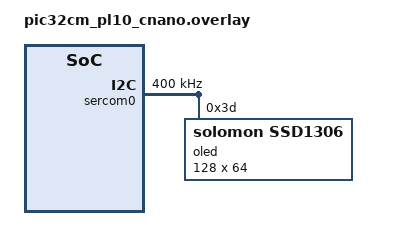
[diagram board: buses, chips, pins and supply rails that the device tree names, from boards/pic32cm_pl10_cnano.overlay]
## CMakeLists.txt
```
# SPDX-License-Identifier: Apache-2.0
cmake_minimum_required(VERSION 3.20.0)

find_package(Zephyr REQUIRED HINTS $ENV{ZEPHYR_BASE})
project(joystick_oled)

target_sources(app PRIVATE src/main.c)
```

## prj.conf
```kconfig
# I2C bus (SERCOM0 on PA00/PA01 -> Explorer I2C bus)
CONFIG_I2C=y

# OLED (SSD1306 driver is pulled in automatically from the devicetree node)
CONFIG_DISPLAY=y

# Console output over the Nano Debugger virtual COM port
CONFIG_PRINTK=y

# PL10 only has 8 KB SRAM - keep things lean
CONFIG_MAIN_STACK_SIZE=1024
CONFIG_LOG=n
```

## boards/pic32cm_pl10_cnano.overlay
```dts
/*
 * Curiosity Nano Explorer add-ons for the PIC32CM PL10 Curiosity Nano.
 *
 * Explorer I2C bus  -> CNANO socket I2C SDA/SCL -> PL10 PA00 (SERCOM0 PAD0) / PA01 (SERCOM0 PAD1)
 *   - OLED (SSD1306, 128x64)          @ 0x3D
 *   - I/O Expander 2 (MCP23008)       @ 0x24  (joystick + SW1..SW3, read directly in main.c)
 */

#include <zephyr/dt-bindings/i2c/i2c.h>

/ {
	chosen {
		zephyr,display = &oled;
	};
};

&pinctrl {
	sercom0_i2c_default: sercom0_i2c_default {
		group1 {
			pinmux = <PA0C_SERCOM0_PAD0>,	/* SDA */
				 <PA1C_SERCOM0_PAD1>;	/* SCL */
			/* Required: without the input buffer the SERCOM can't sample the bus */
			input-enable;
		};
	};
};

/* Feed SERCOM0 core clock from GCLK0 (24 MHz), same as the console SERCOM1 */
&gclkperiph {
	sercom0 {
		subsystem = <CLOCK_MCHP_GCLKPERIPH_ID_SERCOM0_CORE>;
		gclkperiph-src = "gclk0";
		gclkperiph-en = <1>;
	};
};

&porta {
	status = "okay";
};

&sercom0 {
	compatible = "microchip,sercom-g1-i2c";
	#address-cells = <1>;
	#size-cells = <0>;
	clock-frequency = <I2C_BITRATE_FAST>;
	pinctrl-0 = <&sercom0_i2c_default>;
	pinctrl-names = "default";
	status = "okay";

	oled: ssd1306@3d {
		compatible = "solomon,ssd1306";
		reg = <0x3d>;
		width = <128>;
		height = <64>;
		segment-offset = <0>;
		page-offset = <0>;
		display-offset = <0>;
		multiplex-ratio = <63>;
		segment-remap;
		com-invdir;
		prechargep = <0x22>;
	};
};
```

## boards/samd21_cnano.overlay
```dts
/*
 * Curiosity Nano Explorer add-ons for the SAM D21 Curiosity Nano (samd21_cnano).
 *
 * Explorer I2C bus  -> CNANO socket I2C SDA/SCL -> SAMD21 PA12 (SERCOM4 PAD0) / PA13 (SERCOM4 PAD1)
 *   - OLED (SSD1306, 128x64)          @ 0x3D
 *   - I/O Expander 2 (MCP23008)       @ 0x24  (joystick + SW1..SW3, read directly in main.c)
 *
 * The samd21_cnano board already enables SERCOM4 as I2C; this overlay restates
 * it explicitly (pins with input-enable, clock, compatible) and adds the OLED.
 */

#include <zephyr/dt-bindings/i2c/i2c.h>

/ {
	chosen {
		zephyr,display = &oled;
	};
};

&pinctrl {
	sercom4_i2c_default: sercom4_i2c_default {
		group1 {
			pinmux = <PA12D_SERCOM4_PAD0>,	/* SDA */
				 <PA13D_SERCOM4_PAD1>;	/* SCL */
			input-enable;
		};
	};
};

&porta {
	status = "okay";
};

&sercom4 {
	compatible = "atmel,sam0-i2c";
	#address-cells = <1>;
	#size-cells = <0>;
	clock-frequency = <I2C_BITRATE_FAST>;
	/* SERCOM4 core clock (GCLK ID 0x18) from GCLK0 (48 MHz), APB-C mask bit 6 */
	clocks = <&gclk 0x18>, <&pm 0x20 6>;
	clock-names = "GCLK", "PM";
	atmel,assigned-clocks = <&gclk 0>;
	atmel,assigned-clock-names = "GCLK";
	pinctrl-0 = <&sercom4_i2c_default>;
	pinctrl-names = "default";
	status = "okay";

	oled: ssd1306@3d {
		compatible = "solomon,ssd1306";
		reg = <0x3d>;
		width = <128>;
		height = <64>;
		segment-offset = <0>;
		page-offset = <0>;
		display-offset = <0>;
		multiplex-ratio = <63>;
		segment-remap;
		com-invdir;
		prechargep = <0x22>;
	};
};
```

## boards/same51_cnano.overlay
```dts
/*
 * Curiosity Nano Explorer add-ons for the SAM E51 Curiosity Nano (same51_cnano).
 *
 * Explorer I2C bus  -> CNANO socket I2C SDA/SCL -> SAME51 PA12 (SERCOM2 PAD0) / PA13 (SERCOM2 PAD1)
 *   - OLED (SSD1306, 128x64)          @ 0x3D
 *   - I/O Expander 2 (MCP23008)       @ 0x24  (joystick + SW1..SW3, read directly in main.c)
 *
 * The same51_cnano board already enables SERCOM2 as a microchip,sercom-g1-i2c
 * controller at 400 kHz with its core clock on GCLK1 (60 MHz). This overlay
 * only adds input-enable on the I2C pins and the OLED node.
 */

/ {
	chosen {
		zephyr,display = &oled;
	};
};

&pinctrl {
	sercom2_i2c_default: sercom2_i2c_default {
		group1 {
			pinmux = <PA12C_SERCOM2_PAD0>,	/* SDA */
				 <PA13C_SERCOM2_PAD1>;	/* SCL */
			/* Keep the SERCOM input buffer on so it can sample the bus */
			input-enable;
		};
	};
};

&sercom2 {
	status = "okay";

	oled: ssd1306@3d {
		compatible = "solomon,ssd1306";
		reg = <0x3d>;
		width = <128>;
		height = <64>;
		segment-offset = <0>;
		page-offset = <0>;
		display-offset = <0>;
		multiplex-ratio = <63>;
		segment-remap;
		com-invdir;
		prechargep = <0x22>;
	};
};
```

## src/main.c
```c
/*
 * Joystick + OLED demo for PIC32CM PL10, SAMD21, and SAME51 Curiosity Nanos on the Curiosity Nano Explorer.
 *
 *  - A dot is drawn on the 128x64 SSD1306 OLED.
 *  - Joystick UP/DOWN/LEFT/RIGHT moves the dot 4 px (wraps at the edges).
 *    Holding a direction auto-repeats.
 *  - Joystick PUSH (center click) "changes the color": the OLED is monochrome,
 *    so it toggles between a white dot on black and a black dot on white.
 *
 * Joystick wiring (Explorer user guide DS50003716, Buttons schematic):
 *   I/O Expander 2 = MCP23008 @ I2C 0x24
 *   GP0 = J-UP, GP1 = J-LEFT, GP2 = J-DOWN, GP3 = J-RIGHT, GP4 = J-PUSH,
 *   GP5 = SW3, GP6 = SW2, GP7 = SW1
 *   Switches pull to GND when pressed (active-low); pull-ups must be enabled in the MCP23008.
 */

#include <zephyr/kernel.h>
#include <zephyr/device.h>
#include <zephyr/drivers/i2c.h>
#include <zephyr/drivers/display.h>
#include <zephyr/sys/printk.h>
#include <string.h>

/* ---------- MCP23008 (I/O Expander 2) ---------- */
#define IOEXP2_ADDR     0x24
#define MCP_IODIR       0x00
#define MCP_GPPU        0x06
#define MCP_GPIO        0x09

#define JOY_UP          BIT(0)
#define JOY_LEFT        BIT(1)
#define JOY_DOWN        BIT(2)
#define JOY_RIGHT       BIT(3)
#define JOY_PUSH        BIT(4)
#define JOY_DIR_MASK    (JOY_UP | JOY_LEFT | JOY_DOWN | JOY_RIGHT)

/* ---------- Display / dot ---------- */
#define SCREEN_W        128
#define SCREEN_H        64
#define DOT_SIZE        6
#define STEP_PX         4

#define POLL_MS         20      /* joystick polling period */
#define REPEAT_DELAY_MS 300     /* hold time before auto-repeat starts */
#define REPEAT_RATE_MS  60      /* auto-repeat interval */

/*
 * The MCP23008 sits on the same I2C bus as the OLED, so take the bus from the
 * OLED's parent node. This works on any board whose overlay puts the OLED under
 * its I2C controller (SERCOM0 on PL10, SERCOM4 on SAMD21, ...).
 */
static const struct device *const display = DEVICE_DT_GET(DT_CHOSEN(zephyr_display));
static const struct device *const i2c_bus = DEVICE_DT_GET(DT_BUS(DT_CHOSEN(zephyr_display)));

/* 1 bit per pixel, vertically tiled (SSD1306 native): byte = 8 vertical pixels, LSB on top */
static uint8_t framebuf[SCREEN_W * SCREEN_H / 8];

/* Rounded 6x6 dot, one row per byte, bit 5 = leftmost pixel */
static const uint8_t dot_bitmap[DOT_SIZE] = {
	0x1E, /* .####. */
	0x3F, /* ###### */
	0x3F, /* ###### */
	0x3F, /* ###### */
	0x3F, /* ###### */
	0x1E, /* .####. */
};

static int dot_x = (SCREEN_W - DOT_SIZE) / 2;
static int dot_y = (SCREEN_H - DOT_SIZE) / 2;
static bool inverted;

static void set_pixel(int x, int y, bool on)
{
	/* wrap so the dot slides smoothly off one edge and onto the other */
	x = (x + SCREEN_W) % SCREEN_W;
	y = (y + SCREEN_H) % SCREEN_H;

	uint8_t *byte = &framebuf[(y / 8) * SCREEN_W + x];
	uint8_t mask = BIT(y % 8);

	if (on) {
		*byte |= mask;
	} else {
		*byte &= ~mask;
	}
}

static int redraw(void)
{
	/* background: black normally, white when inverted */
	memset(framebuf, inverted ? 0xFF : 0x00, sizeof(framebuf));

	for (int row = 0; row < DOT_SIZE; row++) {
		for (int col = 0; col < DOT_SIZE; col++) {
			if (dot_bitmap[row] & BIT(DOT_SIZE - 1 - col)) {
				/* dot is the opposite color of the background */
				set_pixel(dot_x + col, dot_y + row, !inverted);
			}
		}
	}

	struct display_buffer_descriptor desc = {
		.buf_size = sizeof(framebuf),
		.width = SCREEN_W,
		.height = SCREEN_H,
		.pitch = SCREEN_W,
	};

	return display_write(display, 0, 0, &desc, framebuf);
}

static int ioexp_init(void)
{
	int ret;

	ret = i2c_reg_write_byte(i2c_bus, IOEXP2_ADDR, MCP_IODIR, 0xFF); /* all inputs */
	if (ret) {
		return ret;
	}
	return i2c_reg_write_byte(i2c_bus, IOEXP2_ADDR, MCP_GPPU, 0xFF); /* all pull-ups on */
}

/* Returns a bitmask of PRESSED inputs (active-high after inversion), or <0 on error */
static int ioexp_read_pressed(void)
{
	uint8_t val;
	int ret = i2c_reg_read_byte(i2c_bus, IOEXP2_ADDR, MCP_GPIO, &val);

	return ret ? ret : (uint8_t)~val;
}

static void move_dot(uint8_t dirs)
{
	if (dirs & JOY_UP) {
		dot_y -= STEP_PX;
	}
	if (dirs & JOY_DOWN) {
		dot_y += STEP_PX;
	}
	if (dirs & JOY_LEFT) {
		dot_x -= STEP_PX;
	}
	if (dirs & JOY_RIGHT) {
		dot_x += STEP_PX;
	}
	dot_x = (dot_x + SCREEN_W) % SCREEN_W;
	dot_y = (dot_y + SCREEN_H) % SCREEN_H;
}

int main(void)
{
	printk("Explorer joystick + OLED demo\n");

    if (!device_is_ready(i2c_bus)) {
        printk("ERROR: I2C bus (%s) not ready\n", i2c_bus->name);
        return 0;
    }
    if (!device_is_ready(display)) {
        printk("ERROR: OLED display not ready (check I2C address 0x3D)\n");
        return 0;
    }

        /* 1 = lit pixel */
        display_set_pixel_format(display, PIXEL_FORMAT_MONO01);
        display_blanking_off(display);

        printk("I2C bus: %s\n", i2c_bus->name);

        int ret = ioexp_init();

        if (ret) {
                printk("ERROR: I/O Expander 2 (MCP23008 @ 0x24) not responding (%d)\n", ret);
                return 0;
        }

	redraw();

	uint8_t prev = 0;
	int64_t next_repeat = 0;

	while (1) {
		int pressed = ioexp_read_pressed();

		if (pressed < 0) {
			printk("I2C read error %d\n", pressed);
			k_msleep(200);
			continue;
		}

		uint8_t now = (uint8_t)pressed;
		uint8_t new_presses = now & ~prev;
		bool dirty = false;
		int64_t t = k_uptime_get();

		/* center click -> toggle color (on press edge only) */
		if (new_presses & JOY_PUSH) {
			inverted = !inverted;
			printk("Click: %s\n", inverted ? "black dot / white bg" : "white dot / black bg");
			dirty = true;
		}

		/* directions: move on press, then auto-repeat while held */
		uint8_t dirs = now & JOY_DIR_MASK;

		if (new_presses & JOY_DIR_MASK) {
			move_dot(dirs);
			next_repeat = t + REPEAT_DELAY_MS;
			dirty = true;
		} else if (dirs && t >= next_repeat) {
			move_dot(dirs);
			next_repeat = t + REPEAT_RATE_MS;
			dirty = true;
		}

		if (dirty) {
			redraw();
		}

		prev = now;
		k_msleep(POLL_MS);
	}

	return 0;
}
```
